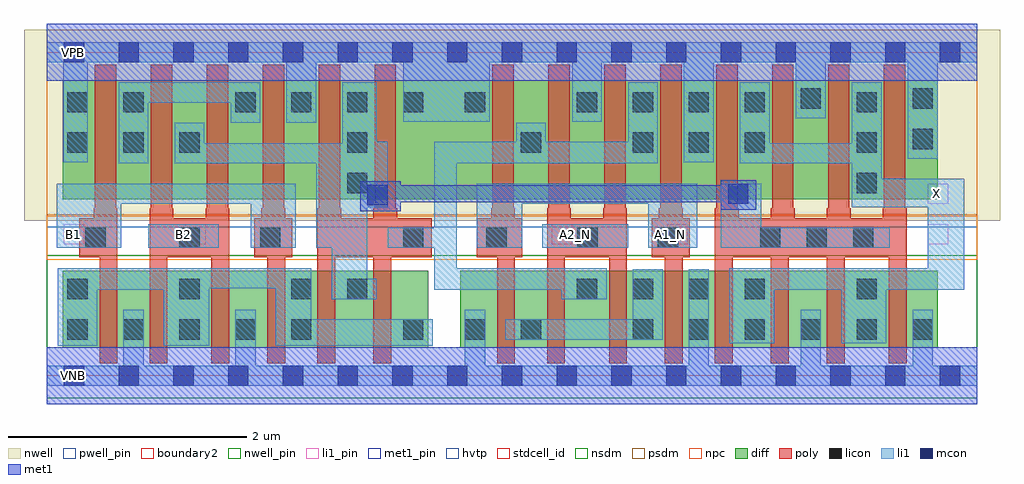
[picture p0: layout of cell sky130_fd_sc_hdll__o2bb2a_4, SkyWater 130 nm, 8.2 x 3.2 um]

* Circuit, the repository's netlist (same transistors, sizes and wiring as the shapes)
* Copyright 2020 The SkyWater PDK Authors
*
* Licensed under the Apache License, Version 2.0 (the "License");
* you may not use this file except in compliance with the License.
* You may obtain a copy of the License at
*
*     https://www.apache.org/licenses/LICENSE-2.0
*
* Unless required by applicable law or agreed to in writing, software
* distributed under the License is distributed on an "AS IS" BASIS,
* WITHOUT WARRANTIES OR CONDITIONS OF ANY KIND, either express or implied.
* See the License for the specific language governing permissions and
* limitations under the License.
*
* SPDX-License-Identifier: Apache-2.0

.SUBCKT sky130_fd_sc_hdll__o2bb2a_4 A1_N A2_N B1 B2 VGND VNB VPB VPWR X
*.PININFO A1_N:I A2_N:I B1:I B2:I VGND:I VNB:I VPB:I VPWR:I X:O
MMIN2 X y VGND VNB sky130_fd_pr__nfet_01v8 m=4 w=0.65U l=0.15U mult=1 sa=0.265
+ sb=0.265 sd=0.28 area=0.063 perim=1.14
MMNnand0 VGND A1_N sndNA1N VNB sky130_fd_pr__nfet_01v8 m=2 w=0.65U l=0.15U mult=1
+ sa=0.265 sb=0.265 sd=0.28 area=0.063 perim=1.14
MMNnand1 sndNA1N A2_N inand VNB sky130_fd_pr__nfet_01v8 m=2 w=0.65U l=0.15U mult=1
+ sa=0.265 sb=0.265 sd=0.28 area=0.063 perim=1.14
MMNaoi10 nmid B1 VGND VNB sky130_fd_pr__nfet_01v8 m=2 w=0.65U l=0.15U mult=1 sa=0.265
+ sb=0.265 sd=0.28 area=0.063 perim=1.14
MMNaoi11 nmid B2 VGND VNB sky130_fd_pr__nfet_01v8 m=2 w=0.65U l=0.15U mult=1 sa=0.265
+ sb=0.265 sd=0.28 area=0.063 perim=1.14
MMNaoi20 y inand nmid VNB sky130_fd_pr__nfet_01v8 m=2 w=0.65U l=0.15U mult=1 sa=0.265
+ sb=0.265 sd=0.28 area=0.063 perim=1.14
MMIP2 X y VPWR VPB sky130_fd_pr__pfet_01v8_hvt m=4 w=1.0U l=0.18U mult=1 sa=0.265
+ sb=0.265 sd=0.28 area=0.063 perim=1.14
MMPnand0 inand A1_N VPWR VPB sky130_fd_pr__pfet_01v8_hvt m=2 w=1.0U l=0.18U mult=1
+ sa=0.265 sb=0.265 sd=0.28 area=0.063 perim=1.14
MMPnand1 inand A2_N VPWR VPB sky130_fd_pr__pfet_01v8_hvt m=2 w=1.0U l=0.18U mult=1
+ sa=0.265 sb=0.265 sd=0.28 area=0.063 perim=1.14
MMPaoi10 VPWR B1 sndPB1 VPB sky130_fd_pr__pfet_01v8_hvt m=2 w=1.0U l=0.18U mult=1
+ sa=0.265 sb=0.265 sd=0.28 area=0.063 perim=1.14
MMPaoi11 sndPB1 B2 y VPB sky130_fd_pr__pfet_01v8_hvt m=2 w=1.0U l=0.18U mult=1
+ sa=0.265 sb=0.265 sd=0.28 area=0.063 perim=1.14
MMPaoi20 y inand VPWR VPB sky130_fd_pr__pfet_01v8_hvt m=2 w=1.0U l=0.18U mult=1
+ sa=0.265 sb=0.265 sd=0.28 area=0.063 perim=1.14
.ENDS sky130_fd_sc_hdll__o2bb2a_4

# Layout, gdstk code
import gdstk
lib = gdstk.Library(unit=1e-6, precision=1e-09)
def R(c, l, rs):  # rectangles x0, y0, x1, y1
    for r in rs: c.add(gdstk.rectangle(r[:2], r[2:], *l))
def A(c, l, x, y, w, h, nx, ny, dx, dy):  # array of equal rectangles
    R(c, l, [(x+i*dx, y+j*dy, x+i*dx+w, y+j*dy+h) for i in range(nx) for j in range(ny)])
def P(c, l, *ps):  # polygons
    for p in ps: c.add(gdstk.Polygon(p, *l))
nwell_pin = (64, 16)
nwell = (64, 20)
diff = (65, 20)
poly = (66, 20)
licon = (66, 44)
li1_pin = (67, 16)
li1 = (67, 20)
mcon = (67, 44)
met1_pin = (68, 16)
met1 = (68, 20)
hvtp = (78, 44)
stdcell_id = (81, 4)
nsdm = (93, 44)
psdm = (94, 20)
npc = (95, 20)
pwell_pin = (122, 16)
boundary2 = (236, 0)

sky130_fd_sc_hdll__o2bb2 = lib.new_cell('sky130_fd_sc_hdll__o2bb2a_4')
R(sky130_fd_sc_hdll__o2bb2, nwell_pin, [(0.145,2.635,0.315,2.805)])
R(sky130_fd_sc_hdll__o2bb2, nwell, [(-0.19,1.305,8.01,2.91)])
R(sky130_fd_sc_hdll__o2bb2, diff, [(0.135,0.235,3.205,0.885), (3.475,0.235,7.485,0.885), (0.135,1.485,7.485,2.485)])
P(sky130_fd_sc_hdll__o2bb2, poly, [(0.595,1.41),(0.585,1.41),(0.585,2.615),(0.405,2.615),(0.405,1.41),(0.395,1.41),(0.395,1.325),(0.275,1.325),(0.275,0.995),(0.445,0.995),(0.445,0.105),(0.595,0.105)],
  [(1.535,1.41),(1.525,1.41),(1.525,2.615),(1.345,2.615),(1.345,1.41),(1.335,1.41),(1.335,1.325),(1.065,1.325),(1.065,1.41),(1.055,1.41),(1.055,2.615),(0.875,2.615),(0.875,1.41),(0.865,1.41),(0.865,0.105),(1.015,0.105),(1.015,0.995),(1.385,0.995),(1.385,0.105),(1.535,0.105)],
  [(2.065,1.325),(2.005,1.325),(2.005,1.41),(1.995,1.41),(1.995,2.615),(1.815,2.615),(1.815,1.41),(1.805,1.41),(1.805,1.325),(1.745,1.325),(1.745,0.995),(1.855,0.995),(1.855,0.105),(2.005,0.105),(2.005,0.995),(2.065,0.995)],
  [(3.235,1.325),(2.945,1.325),(2.945,1.41),(2.935,1.41),(2.935,2.615),(2.755,2.615),(2.755,1.41),(2.745,1.41),(2.745,1.325),(2.475,1.325),(2.475,1.41),(2.465,1.41),(2.465,2.615),(2.285,2.615),(2.285,1.41),(2.275,1.41),(2.275,0.105),(2.425,0.105),(2.425,0.995),(2.745,0.995),(2.745,0.105),(2.895,0.105),(2.895,0.995),(3.235,0.995)],
  [(3.995,1.325),(3.935,1.325),(3.935,1.41),(3.925,1.41),(3.925,2.615),(3.745,2.615),(3.745,1.41),(3.735,1.41),(3.735,1.325),(3.615,1.325),(3.615,0.995),(3.785,0.995),(3.785,0.105),(3.935,0.105),(3.935,0.995),(3.995,0.995)],
  [(4.875,1.41),(4.865,1.41),(4.865,2.615),(4.685,2.615),(4.685,1.41),(4.675,1.41),(4.675,1.325),(4.405,1.325),(4.405,1.41),(4.395,1.41),(4.395,2.615),(4.215,2.615),(4.215,1.41),(4.205,1.41),(4.205,0.105),(4.355,0.105),(4.355,0.995),(4.725,0.995),(4.725,0.105),(4.875,0.105)],
  [(5.405,1.325),(5.345,1.325),(5.345,1.41),(5.335,1.41),(5.335,2.615),(5.155,2.615),(5.155,1.41),(5.145,1.41),(5.145,1.325),(5.085,1.325),(5.085,0.995),(5.195,0.995),(5.195,0.105),(5.345,0.105),(5.345,0.995),(5.405,0.995)],
  [(7.225,1.41),(7.215,1.41),(7.215,2.615),(7.035,2.615),(7.035,1.41),(7.025,1.41),(7.025,1.325),(6.755,1.325),(6.755,1.41),(6.745,1.41),(6.745,2.615),(6.565,2.615),(6.565,1.41),(6.555,1.41),(6.555,1.325),(6.285,1.325),(6.285,1.41),(6.275,1.41),(6.275,2.615),(6.095,2.615),(6.095,1.41),(6.085,1.41),(6.085,1.325),(5.815,1.325),(5.815,1.41),(5.805,1.41),(5.805,2.615),(5.625,2.615),(5.625,1.41),(5.615,1.41),(5.615,0.105),(5.765,0.105),(5.765,0.995),(6.085,0.995),(6.085,0.105),(6.235,0.105),(6.235,0.995),(6.555,0.995),(6.555,0.105),(6.705,0.105),(6.705,0.995),(7.075,0.995),(7.075,0.105),(7.225,0.105)])
A(sky130_fd_sc_hdll__o2bb2, licon, 0.175, 0.305, 0.17, 0.17, 5, 1, 0.47, 0)
A(sky130_fd_sc_hdll__o2bb2, licon, 4.925, 0.305, 0.17, 0.17, 6, 1, 0.47, 0)
A(sky130_fd_sc_hdll__o2bb2, licon, 0.175, 0.645, 0.17, 0.17, 3, 1, 0.94, 0)
A(sky130_fd_sc_hdll__o2bb2, licon, 4.455, 0.645, 0.17, 0.17, 4, 2, 0.47, 1.57)
A(sky130_fd_sc_hdll__o2bb2, licon, 5.995, 1.075, 0.17, 0.17, 3, 1, 0.39, 0)
A(sky130_fd_sc_hdll__o2bb2, licon, 6.805, 1.535, 0.17, 0.17, 1, 3, 0, 0.34)
A(sky130_fd_sc_hdll__o2bb2, licon, 0.175, 1.875, 0.17, 0.17, 3, 1, 0.47, 0)
A(sky130_fd_sc_hdll__o2bb2, licon, 4.925, 1.875, 0.17, 0.17, 3, 1, 0.47, 0)
A(sky130_fd_sc_hdll__o2bb2, licon, 1.585, 2.215, 0.17, 0.17, 4, 1, 0.47, 0)
R(sky130_fd_sc_hdll__o2bb2, licon, [(2.995,0.305,3.165,0.475), (3.515,0.305,3.685,0.475), (3.985,0.305,4.155,0.475), (2.525,0.645,2.695,0.815), (6.805,0.645,6.975,0.815), (0.325,1.075,0.495,1.245), (1.115,1.075,1.285,1.245), (1.795,1.075,1.965,1.245), (2.995,1.075,3.165,1.245), (3.695,1.075,3.865,1.245), (4.46,1.075,4.63,1.245), (5.135,1.075,5.305,1.245), (2.525,1.535,2.695,1.705), (2.525,1.875,2.695,2.045), (3.985,1.875,4.155,2.045), (7.275,1.905,7.445,2.075), (0.175,2.215,0.345,2.385), (0.645,2.215,0.815,2.385), (3.515,2.215,3.685,2.385), (6.335,2.245,6.505,2.415), (7.275,2.245,7.445,2.415)])
R(sky130_fd_sc_hdll__o2bb2, li1_pin, [(0.145,1.105,0.315,1.275), (1.165,1.105,1.335,1.275), (4.245,1.105,4.415,1.275), (5.215,1.105,5.385,1.275), (7.405,1.105,7.575,1.275), (7.405,1.445,7.575,1.615)])
R(sky130_fd_sc_hdll__o2bb2, li1, [(0.855,1.075,1.445,1.275), (4.165,1.075,4.885,1.275)])
P(sky130_fd_sc_hdll__o2bb2, li1, [(1.795,2.465),(0.605,2.465),(0.605,1.785),(0.855,1.785),(0.855,2.295),(1.545,2.295),(1.545,2.125),(1.795,2.125)],
  [(2.095,1.615),(0.085,1.615),(0.085,1.075),(0.625,1.075),(0.625,1.445),(1.715,1.445),(1.715,1.075),(2.095,1.075)],
  [(2.865,1.965),(2.775,1.965),(2.775,2.465),(2.485,2.465),(2.485,1.955),(1.325,1.955),(1.325,2.125),(1.075,2.125),(1.075,1.785),(2.265,1.785),(2.265,1.075),(2.395,1.075),(2.395,0.645),(2.775,0.645),(2.775,0.815),(2.695,0.815),(2.695,1.415),(2.865,1.415)],
  [(3.245,0.475),(2.225,0.475),(2.225,0.905),(0.095,0.905),(0.095,0.255),(0.425,0.255),(0.425,0.725),(0.985,0.725),(0.985,0.255),(1.365,0.255),(1.365,0.735),(1.925,0.735),(1.925,0.255),(3.245,0.255)],
  [(5.135,2.465),(4.885,2.465),(4.885,1.965),(4.195,1.965),(4.195,2.125),(3.945,2.125),(3.945,1.965),(3.255,1.965),(3.255,1.245),(2.865,1.245),(2.865,1.075),(3.255,1.075),(3.255,0.725),(4.325,0.725),(4.325,0.645),(4.705,0.645),(4.705,0.905),(3.445,0.905),(3.445,1.785),(5.135,1.785)],
  [(5.175,0.895),(4.925,0.895),(4.925,0.475),(3.855,0.475),(3.855,0.305),(5.175,0.305)],
  [(5.465,1.615),(3.615,1.615),(3.615,1.075),(3.995,1.075),(3.995,1.445),(5.055,1.445),(5.055,1.075),(5.465,1.075)],
  [(7.085,1.245),(6.005,1.245),(6.005,1.615),(5.665,1.615),(5.665,1.075),(7.085,1.075)],
  [(7.71,1.655),(7.015,1.655),(7.015,2.465),(6.765,2.465),(6.765,1.955),(6.075,1.955),(6.075,2.465),(5.825,2.465),(5.825,1.785),(6.765,1.785),(6.765,1.415),(7.405,1.415),(7.405,0.905),(5.735,0.905),(5.735,0.275),(6.115,0.275),(6.115,0.725),(6.675,0.725),(6.675,0.275),(7.055,0.275),(7.055,0.725),(7.71,0.725)],
  [(7.82,2.805),(0,2.805),(0,2.635),(0.14,2.635),(0.14,1.795),(0.345,1.795),(0.345,2.635),(2.015,2.635),(2.015,2.125),(2.265,2.125),(2.265,2.635),(2.995,2.635),(2.995,2.135),(3.725,2.135),(3.725,2.635),(4.415,2.635),(4.415,2.135),(4.665,2.135),(4.665,2.635),(5.355,2.635),(5.355,1.795),(5.605,1.795),(5.605,2.635),(6.295,2.635),(6.295,2.165),(6.545,2.165),(6.545,2.635),(7.235,2.635),(7.235,1.825),(7.485,1.825),(7.485,2.635),(7.82,2.635)],
  [(7.82,0.085),(7.445,0.085),(7.445,0.555),(7.275,0.555),(7.275,0.085),(6.505,0.085),(6.505,0.555),(6.335,0.555),(6.335,0.085),(5.565,0.085),(5.565,0.895),(5.395,0.895),(5.395,0.085),(3.685,0.085),(3.685,0.555),(3.515,0.555),(3.515,0.085),(1.755,0.085),(1.755,0.555),(1.585,0.555),(1.585,0.085),(0.815,0.085),(0.815,0.555),(0.645,0.555),(0.645,0.085),(0,0.085),(0,-0.085),(7.82,-0.085)])
A(sky130_fd_sc_hdll__o2bb2, mcon, 0.145, -0.085, 0.17, 0.17, 17, 2, 0.46, 2.72)
R(sky130_fd_sc_hdll__o2bb2, mcon, [(2.695,1.435,2.865,1.605), (5.725,1.445,5.895,1.615)])
R(sky130_fd_sc_hdll__o2bb2, met1_pin, [(0.145,-0.085,0.315,0.085), (0.145,2.635,0.315,2.805)])
R(sky130_fd_sc_hdll__o2bb2, met1, [(0,-0.24,7.82,0.24), (0,2.48,7.82,2.96)])
P(sky130_fd_sc_hdll__o2bb2, met1, [(5.96,1.645),(5.665,1.645),(5.665,1.6),(2.975,1.6),(2.975,1.635),(2.635,1.635),(2.635,1.385),(2.975,1.385),(2.975,1.46),(5.665,1.46),(5.665,1.395),(5.96,1.395)])
R(sky130_fd_sc_hdll__o2bb2, hvtp, [(0,1.25,7.82,2.72)])
R(sky130_fd_sc_hdll__o2bb2, stdcell_id, [(0,0,7.82,2.72)])
R(sky130_fd_sc_hdll__o2bb2, nsdm, [(0,-0.19,7.82,1.015)])
R(sky130_fd_sc_hdll__o2bb2, psdm, [(0,1.355,7.82,2.91)])
R(sky130_fd_sc_hdll__o2bb2, npc, [(0,0.975,7.82,1.345)])
R(sky130_fd_sc_hdll__o2bb2, pwell_pin, [(0.145,-0.085,0.315,0.085)])
R(sky130_fd_sc_hdll__o2bb2, boundary2, [(0,0,7.82,2.72)])
sky130_fd_sc_hdll__o2bb2.add(gdstk.Label('A2_N', (4.44,1.19), layer=67, texttype=5))
sky130_fd_sc_hdll__o2bb2.add(gdstk.Label('A1_N', (5.24,1.19), layer=67, texttype=5))
sky130_fd_sc_hdll__o2bb2.add(gdstk.Label('X', (7.48,1.53), layer=67, texttype=5))
sky130_fd_sc_hdll__o2bb2.add(gdstk.Label('B2', (1.15,1.19), layer=67, texttype=5))
sky130_fd_sc_hdll__o2bb2.add(gdstk.Label('B1', (0.23,1.19), layer=67, texttype=5))
sky130_fd_sc_hdll__o2bb2.add(gdstk.Label('VNB', (0.23,0), layer=64, texttype=59))
sky130_fd_sc_hdll__o2bb2.add(gdstk.Label('VPB', (0.23,2.72), layer=64, texttype=5))
sky130_fd_sc_hdll__o2bb2.add(gdstk.Label('VGND', (0.23,0), layer=68, texttype=5))
sky130_fd_sc_hdll__o2bb2.add(gdstk.Label('VPWR', (0.23,2.72), layer=68, texttype=5))
sky130_fd_sc_hdll__o2bb2.add(gdstk.Label('o2bb2a_4', (0,0), layer=83, texttype=44))

lib.write_gds('sky130_fd_sc_hdll__o2bb2a_4.gds')
